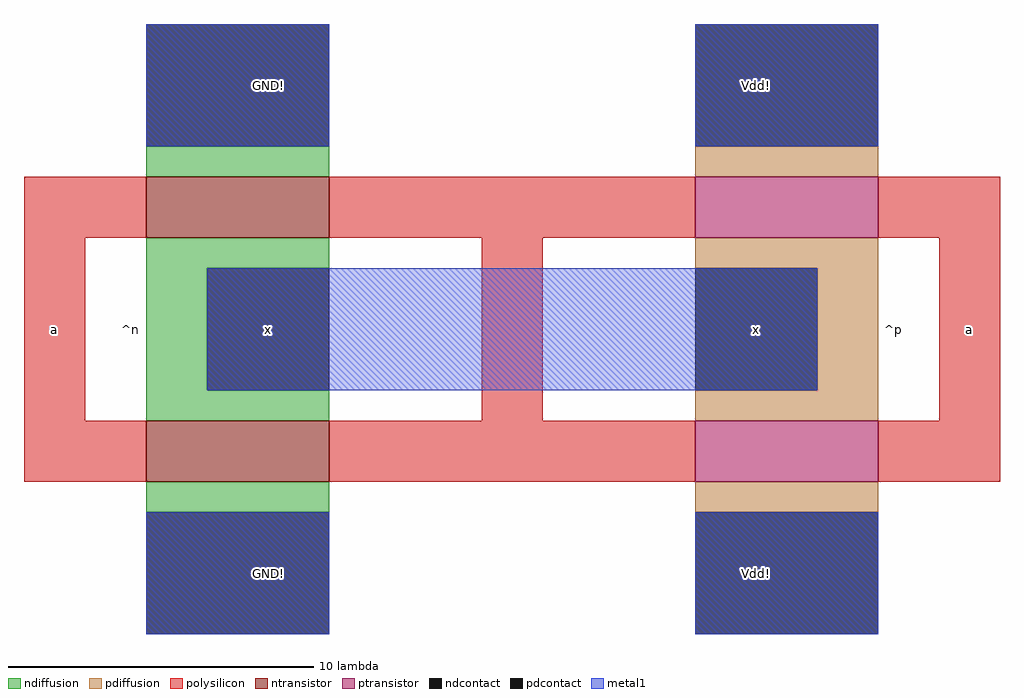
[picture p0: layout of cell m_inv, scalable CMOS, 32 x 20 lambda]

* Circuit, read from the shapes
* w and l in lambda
.subckt m_inv GND! Vdd! a x
M1 x a GND! VSUBS nfet w=6 l=2 m=2
M2 x a Vdd! NWELL pfet w=6 l=2 m=2
.ends

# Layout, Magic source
magic
tech scmos
<< ndiffusion >>
rect 98 565 104 566
rect 98 562 104 563
rect 98 558 100 562
rect 98 557 104 558
rect 98 554 104 555
<< pdiffusion >>
rect 116 565 122 566
rect 116 562 122 563
rect 120 558 122 562
rect 116 557 122 558
rect 116 554 122 555
<< ntransistor >>
rect 98 563 104 565
rect 98 555 104 557
<< ptransistor >>
rect 116 563 122 565
rect 116 555 122 557
<< polysilicon >>
rect 94 563 98 565
rect 104 563 116 565
rect 122 563 126 565
rect 94 557 96 563
rect 109 557 111 563
rect 124 557 126 563
rect 94 555 98 557
rect 104 555 116 557
rect 122 555 126 557
<< ndcontact >>
rect 98 566 104 570
rect 100 558 104 562
rect 98 550 104 554
<< pdcontact >>
rect 116 566 122 570
rect 116 558 120 562
rect 116 550 122 554
<< metal1 >>
rect 98 566 104 570
rect 116 566 122 570
rect 100 558 120 562
rect 98 550 104 554
rect 116 550 122 554
<< labels >>
rlabel space 94 549 101 571 7 ^n
rlabel space 119 549 126 571 3 ^p
rlabel polysilicon 95 560 95 560 3 a
rlabel polysilicon 125 560 125 560 7 a
rlabel ndcontact 102 560 102 560 1 x
rlabel pdcontact 118 560 118 560 1 x
rlabel ndcontact 102 552 102 552 1 GND!
rlabel ndcontact 102 568 102 568 5 GND!
rlabel pdcontact 118 568 118 568 5 Vdd!
rlabel pdcontact 118 552 118 552 1 Vdd!
<< end >>
